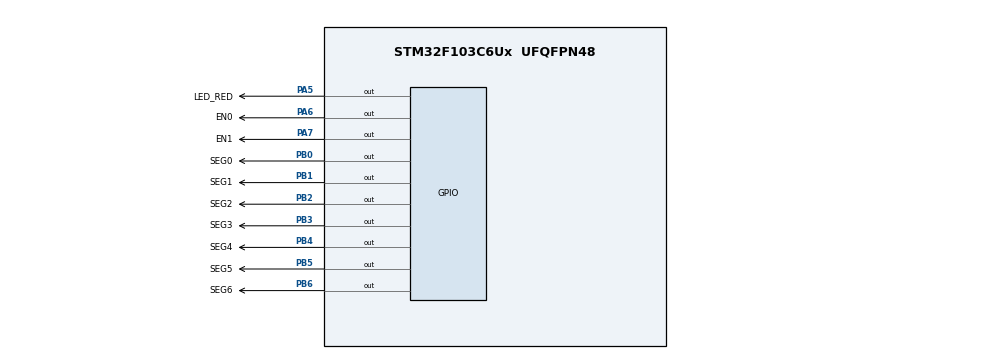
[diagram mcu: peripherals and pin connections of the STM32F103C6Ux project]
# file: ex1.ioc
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Mcu.Family=STM32F1
Mcu.Name=STM32F103C6Ux
Mcu.Package=UFQFPN48
NVIC.PriorityGroup=NVIC_PRIORITYGROUP_4
NVIC.TIM2_IRQn=true\:0\:0\:false\:false\:true\:true\:true
PA5.GPIO_Label=LED_RED
PA5.Signal=GPIO_Output
PA6.GPIO_Label=EN0
PA6.PinState=GPIO_PIN_RESET
PA6.Signal=GPIO_Output
PA7.GPIO_Label=EN1
PA7.PinState=GPIO_PIN_RESET
PA7.Signal=GPIO_Output
PB0.GPIO_Label=SEG0
PB0.Signal=GPIO_Output
PB1.GPIO_Label=SEG1
PB1.Signal=GPIO_Output
PB2.GPIO_Label=SEG2
PB2.Signal=GPIO_Output
PB3.GPIO_Label=SEG3
PB3.Signal=GPIO_Output
PB4.GPIO_Label=SEG4
PB4.Signal=GPIO_Output
PB5.GPIO_Label=SEG5
PB5.Signal=GPIO_Output
PB6.GPIO_Label=SEG6
PB6.Signal=GPIO_Output
ProjectManager.HeapSize=0x200
ProjectManager.StackSize=0x400
ProjectManager.TargetToolchain=STM32CubeIDE
RCC.APB1Freq_Value=8000000
RCC.APB2Freq_Value=8000000
TIM2.Period=9
TIM2.Prescaler=7999
VP_SYS_VS_ND.Mode=No_Debug
VP_TIM2_VS_ClockSourceINT.Mode=Internal
board=custom

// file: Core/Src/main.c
/* USER CODE BEGIN Header */
/**
 ******************************************************************************
 * @file           : main.c
 * @brief          : Main program body
 ******************************************************************************
 * @attention
 *
 * <h2><center>&copy; Copyright (c) 2024 STMicroelectronics.
 * All rights reserved.</center></h2>
 *
 * This software component is licensed by ST under BSD 3-Clause license,
 * the "License"; You may not use this file except in compliance with the
 * License. You may obtain a copy of the License at:
 *                        opensource.org/licenses/BSD-3-Clause
 *
 ******************************************************************************
 */
/* USER CODE END Header */
#include "main.h"

/* USER CODE BEGIN Includes */
#include"software_timer.h"
/* USER CODE END Includes */

TIM_HandleTypeDef htim2;

void SystemClock_Config(void);
static void MX_TIM2_Init(void);
static void MX_GPIO_Init(void);

int main(void) {

	/* MCU Configuration--------------------------------------------------------*/

	/* Reset of all peripherals, Initializes the Flash interface and the Systick. */
	HAL_Init();

	/* Configure the system clock */
	SystemClock_Config();

	/* Initialize all configured peripherals */
	MX_TIM2_Init();
	MX_GPIO_Init();
	/* USER CODE BEGIN 2 */
	HAL_TIM_Base_Start_IT(&htim2);
	/* USER CODE END 2 */

	/* Infinite loop */
	/* USER CODE BEGIN WHILE */
	setTimer1(1);
//	int status = 0;
	while (1) {

		/* USER CODE END WHILE */

	}
}

void SystemClock_Config(void) {
	RCC_OscInitTypeDef RCC_OscInitStruct = { 0 };
	RCC_ClkInitTypeDef RCC_ClkInitStruct = { 0 };

	/** Initializes the RCC Oscillators according to the specified parameters
	 * in the RCC_OscInitTypeDef structure.
	 */
	RCC_OscInitStruct.OscillatorType = RCC_OSCILLATORTYPE_HSI;
	RCC_OscInitStruct.HSIState = RCC_HSI_ON;
	RCC_OscInitStruct.HSICalibrationValue = RCC_HSICALIBRATION_DEFAULT;
	RCC_OscInitStruct.PLL.PLLState = RCC_PLL_NONE;
	if (HAL_RCC_OscConfig(&RCC_OscInitStruct) != HAL_OK) {
		Error_Handler();
	}
	/** Initializes the CPU, AHB and APB buses clocks
	 */
	RCC_ClkInitStruct.ClockType = RCC_CLOCKTYPE_HCLK | RCC_CLOCKTYPE_SYSCLK
			| RCC_CLOCKTYPE_PCLK1 | RCC_CLOCKTYPE_PCLK2;
	RCC_ClkInitStruct.SYSCLKSource = RCC_SYSCLKSOURCE_HSI;
	RCC_ClkInitStruct.AHBCLKDivider = RCC_SYSCLK_DIV1;
	RCC_ClkInitStruct.APB1CLKDivider = RCC_HCLK_DIV1;
	RCC_ClkInitStruct.APB2CLKDivider = RCC_HCLK_DIV1;

	if (HAL_RCC_ClockConfig(&RCC_ClkInitStruct, FLASH_LATENCY_0) != HAL_OK) {
		Error_Handler();
	}
}

static void MX_TIM2_Init(void) {

	TIM_ClockConfigTypeDef sClockSourceConfig = { 0 };
	TIM_MasterConfigTypeDef sMasterConfig = { 0 };

	htim2.Instance = TIM2;
	htim2.Init.Prescaler = 7999;
	htim2.Init.CounterMode = TIM_COUNTERMODE_UP;
	htim2.Init.Period = 9;
	htim2.Init.ClockDivision = TIM_CLOCKDIVISION_DIV1;
	htim2.Init.AutoReloadPreload = TIM_AUTORELOAD_PRELOAD_DISABLE;
	if (HAL_TIM_Base_Init(&htim2) != HAL_OK) {
		Error_Handler();
	}
	sClockSourceConfig.ClockSource = TIM_CLOCKSOURCE_INTERNAL;
	if (HAL_TIM_ConfigClockSource(&htim2, &sClockSourceConfig) != HAL_OK) {
		Error_Handler();
	}
	sMasterConfig.MasterOutputTrigger = TIM_TRGO_RESET;
	sMasterConfig.MasterSlaveMode = TIM_MASTERSLAVEMODE_DISABLE;
	if (HAL_TIMEx_MasterConfigSynchronization(&htim2, &sMasterConfig)
			!= HAL_OK) {
		Error_Handler();
	}

}

static void MX_GPIO_Init(void) {
	GPIO_InitTypeDef GPIO_InitStruct = { 0 };

	/* GPIO Ports Clock Enable */
	__HAL_RCC_GPIOA_CLK_ENABLE();
	__HAL_RCC_GPIOB_CLK_ENABLE();

	/*Configure GPIO pin Output Level */
	HAL_GPIO_WritePin(GPIOA, LED_RED_Pin | EN0_Pin | EN1_Pin, GPIO_PIN_RESET);

	/*Configure GPIO pin Output Level */
	HAL_GPIO_WritePin(GPIOB,
	SEG0_Pin | SEG1_Pin | SEG2_Pin | SEG3_Pin | SEG4_Pin | SEG5_Pin | SEG6_Pin,
			GPIO_PIN_RESET);

	/*Configure GPIO pins : LED_RED_Pin EN0_Pin EN1_Pin */
	GPIO_InitStruct.Pin = LED_RED_Pin | EN0_Pin | EN1_Pin;
	GPIO_InitStruct.Mode = GPIO_MODE_OUTPUT_PP;
	GPIO_InitStruct.Pull = GPIO_NOPULL;
	GPIO_InitStruct.Speed = GPIO_SPEED_FREQ_LOW;
	HAL_GPIO_Init(GPIOA, &GPIO_InitStruct);

	/*Configure GPIO pins : SEG0_Pin SEG1_Pin SEG2_Pin SEG3_Pin
	 SEG4_Pin SEG5_Pin SEG6_Pin */
	GPIO_InitStruct.Pin = SEG0_Pin | SEG1_Pin | SEG2_Pin | SEG3_Pin | SEG4_Pin
			| SEG5_Pin | SEG6_Pin;
	GPIO_InitStruct.Mode = GPIO_MODE_OUTPUT_PP;
	GPIO_InitStruct.Pull = GPIO_NOPULL;
	GPIO_InitStruct.Speed = GPIO_SPEED_FREQ_LOW;
	HAL_GPIO_Init(GPIOB, &GPIO_InitStruct);

}

/* USER CODE BEGIN 4 */
int status=0;
void HAL_TIM_PeriodElapsedCallback(TIM_HandleTypeDef *htim) {
	if (timer1_flag == 1) {
				if (status == 0) {
					HAL_GPIO_WritePin(GPIOA, GPIO_PIN_6, RESET);
					HAL_GPIO_WritePin(GPIOA, GPIO_PIN_7, SET);
					display7SEG(1);
				} else {
					HAL_GPIO_WritePin(GPIOA, GPIO_PIN_6, SET);
					HAL_GPIO_WritePin(GPIOA, GPIO_PIN_7, RESET);
					display7SEG(2);

				}
				status = 1 - status;
				HAL_GPIO_TogglePin(GPIOA, GPIO_PIN_5);
				setTimer1(50);
			}
	timerRun();
}
/* USER CODE END 4 */

void Error_Handler(void) {
	__disable_irq();
	while (1) {
	}
}

/************************ (C) COPYRIGHT STMicroelectronics *****END OF FILE****/
